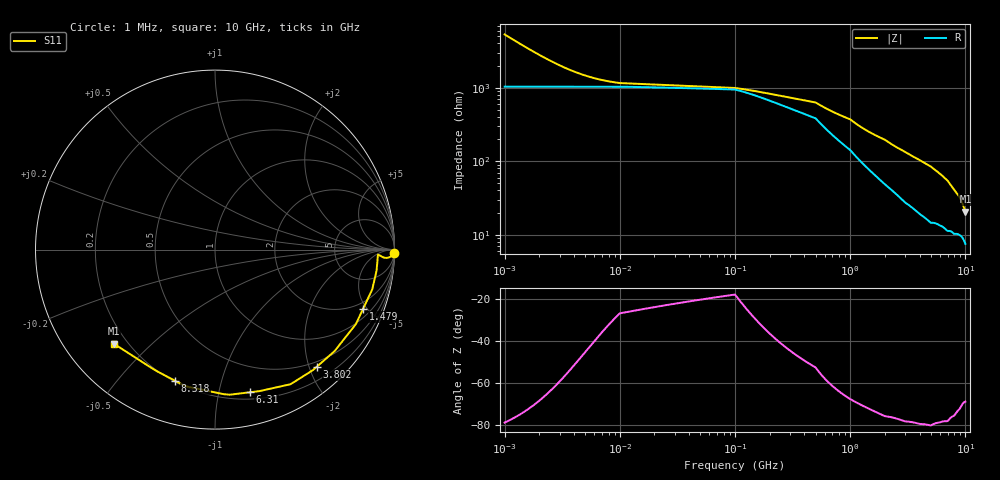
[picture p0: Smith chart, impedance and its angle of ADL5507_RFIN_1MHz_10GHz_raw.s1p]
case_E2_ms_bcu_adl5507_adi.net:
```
# E (adi): ADL5507 on ms, bcu
Pac:P1 n1 gnd Num="1" Z="50 Ohm" P="0 dBm" f="1e9"
SUBST:Sub1 er="4.5" h="1.44 mm" t="35 um" tand="0.02" rho="1.72e-8" D="0"
MLIN:PAD n1 a Subst="Sub1" W="0.8 mm" L="1.1 mm" Model="Hammerstad" DispModel="Kirschning" Temp="26.85"
MSTEP:S0 a a2 Subst="Sub1" W1="0.8 mm" W2="0.2032 mm" MSModel="Hammerstad" MSDispModel="Kirschning"
MLIN:L1 a2 r1a Subst="Sub1" W="0.2032 mm" L="0.65 mm" Model="Hammerstad" DispModel="Kirschning" Temp="26.85"
MSTEP:S1 r1a r1 Subst="Sub1" W1="0.2032 mm" W2="0.3 mm" MSModel="Hammerstad" MSDispModel="Kirschning"
MLIN:L2 r1 r2a Subst="Sub1" W="0.3 mm" L="1 mm" Model="Hammerstad" DispModel="Kirschning" Temp="26.85"
MSTEP:S2 r2a r2 Subst="Sub1" W1="0.3 mm" W2="0.2032 mm" MSModel="Hammerstad" MSDispModel="Kirschning"
MLIN:L3 r2 l3b Subst="Sub1" W="0.2032 mm" L="1.1 mm" Model="Hammerstad" DispModel="Kirschning" Temp="26.85"
MSTEP:S3 l3b l4a Subst="Sub1" W1="0.2032 mm" W2="0.1524 mm" MSModel="Hammerstad" MSDispModel="Kirschning"
MLIN:L4 l4a inhi Subst="Sub1" W="0.1524 mm" L="1.68 mm" Model="Hammerstad" DispModel="Kirschning" Temp="26.85"
SPfile:CHIP inhi gnd File="ADL5507_RFIN_1MHz_10GHz_raw.s1p" Data="rectangular" Interpolator="linear" duringDC="open"
R:RT inhi RTx R="51 Ohm" Temp="26.85"
L:RTL RTx gnd L="0.25 nH"
.SP:SP1 Type="log" Start="1e6" Stop="1e10" Points="401"
```
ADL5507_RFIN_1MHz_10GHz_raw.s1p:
! ADL5507 RFIN input reflection, variant 'raw', 1 MHz - 10 GHz (see adl5507_input_model.py)
! Data: ADL5507 Rev. 0 datasheet, Table 5, 10 MHz - 15 GHz; below 10 MHz extrapolated (series 25 pF coupling capacitor).
! 1-port: RFIN to ground (COMM). Reference impedance 50 ohm.
# HZ S RI R 50
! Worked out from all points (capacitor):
!   401 points, 1 MHz to 10 GHz, reference 50 ohm
!   read as one part to ground: C = 30.6 pF near 1.047 MHz
!   lowest |Z| = 20.7 ohm at 10 GHz (marker M1)
!   S11 on the Smith chart (normalised r, x): 1 MHz: open; 1.479 GHz: 1.50, -4.72; 3.802 GHz: 0.41, -2.13; 6.31 GHz: 0.26, -1.24; 8.318 GHz: 0.21, -0.72; 10 GHz: 0.15, -0.39
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1000000  0.9962 -0.0184
4365158  0.9582 -0.0459
2.187762e7  0.9192 -0.0333
1e8  0.908 -0.028
4.677351e8  0.9013 -0.1104
9.772372e8  0.8768 -0.2184
1.479108e9  0.8246 -0.331
2.089296e9  0.7722 -0.4313
3.801894e9  0.5664 -0.6533
5.011872e9  0.4188 -0.7505
6.309573e9  0.1926 -0.7952
7.24436e9  0.00961 -0.7974
8.317638e9  -0.2215 -0.7312
1e10  -0.564 -0.524
